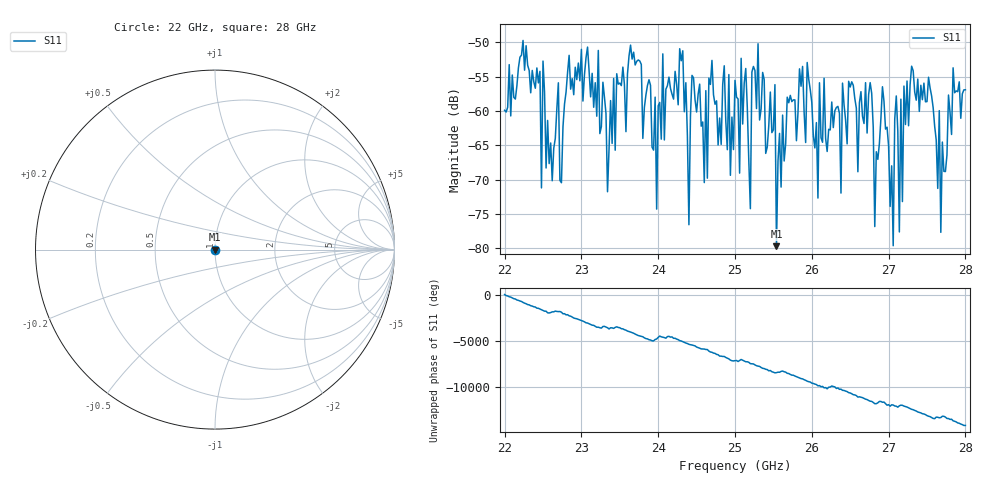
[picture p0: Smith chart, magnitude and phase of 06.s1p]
#  HZ  S  RI  R  50.00
! Rohde & Schwarz ZVA40 4Ports - Version 3.90 - 1145.1110k42 SN: 100403
! Date: 2023-10-04 11:46:44
! Measurement: S12
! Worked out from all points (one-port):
!   301 points, 22 GHz to 28 GHz, reference 50 ohm
!   lowest |S11| = -79.7 dB at 25.54 GHz (marker M1), VSWR 1.00, Z = 50 - j0.00313 ohm
!   |S11| at or under -10 dB: start of sweep to end of sweep
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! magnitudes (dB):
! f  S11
! 22 GHz  -59.9
! 22.76 GHz  -62.3
! 23.5 GHz  -55.9
! 23.96 GHz  -58.0
! 23.98 GHz  -74.3
! 24.06 GHz  -51.7
! 24.26 GHz  -59.1
! 24.36 GHz  -55.9
! 24.4 GHz  -76.6
! 24.44 GHz  -54.8
! 25 GHz  -55.5
! 25.2 GHz  -74.2
! 25.22 GHz  -54.3
! 25.52 GHz  -56.2
! 25.54 GHz  -79.7
! 25.76 GHz  -58.4
! 26.5 GHz  -56.5
! 26.76 GHz  -55.9
! 26.82 GHz  -76.9
! 26.92 GHz  -56.5
! 27.06 GHz  -79.7
! 27.1 GHz  -57.8
! 27.14 GHz  -77.6
! 27.16 GHz  -58.3
! 27.26 GHz  -62.2
! 27.66 GHz  -60.0
! 27.68 GHz  -77.7
! 28 GHz  -56.9
